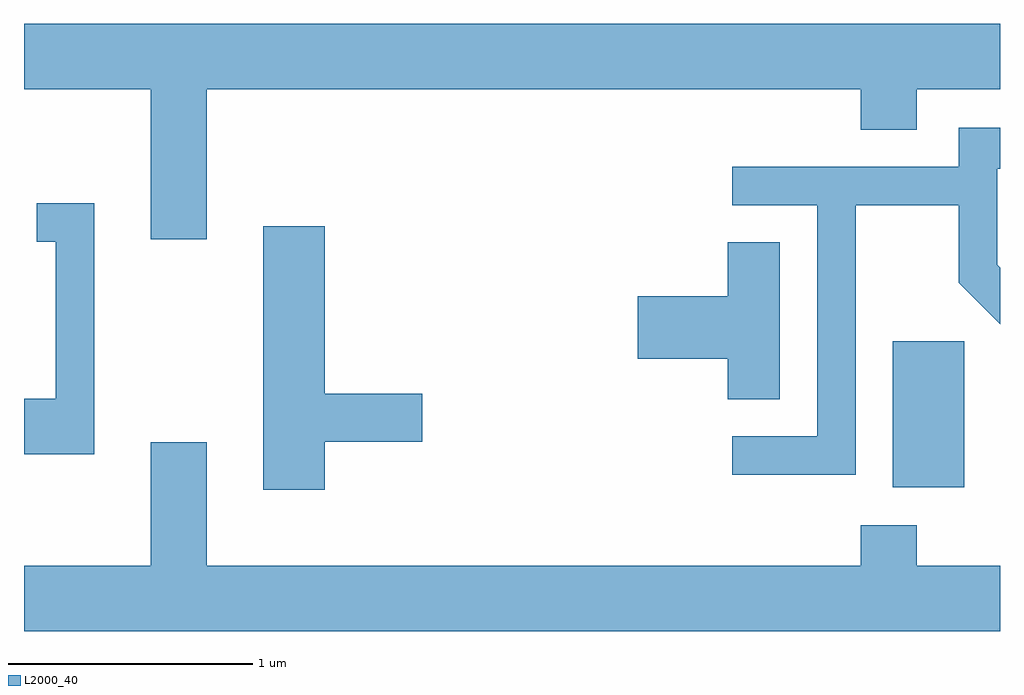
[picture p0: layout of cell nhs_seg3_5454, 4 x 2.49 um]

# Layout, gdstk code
import gdstk
lib = gdstk.Library(unit=1e-6, precision=1e-09)
def R(c, l, rs):  # rectangles x0, y0, x1, y1
    for r in rs: c.add(gdstk.rectangle(r[:2], r[2:], *l))
def P(c, l, *ps):  # polygons
    for p in ps: c.add(gdstk.Polygon(p, *l))
L2000_40 = (2000, 40)

nhs_seg3_5454 = lib.new_cell('nhs_seg3_5454')
R(nhs_seg3_5454, L2000_40, [(349.171,1153.246,349.464,1153.844)])
P(nhs_seg3_5454, L2000_40, [(346.359,1154.876),(349.041,1154.876),(349.041,1154.711),(349.269,1154.711),(349.269,1154.876),(349.611,1154.876),(349.611,1155.144),(345.611,1155.144),(345.611,1154.876),(346.131,1154.876),(346.131,1154.261),(346.359,1154.261)],
  [(349.019,1154.401),(349.441,1154.401),(349.441,1154.084),(349.611,1153.914),(349.611,1154.145),(349.599,1154.157),(349.599,1154.551),(349.611,1154.551),(349.611,1154.719),(349.441,1154.719),(349.441,1154.559),(348.513,1154.559),(348.513,1154.401),(348.861,1154.401),(348.861,1153.454),(348.513,1153.454),(348.513,1153.296),(349.019,1153.296)],
  [(345.899,1154.409),(345.663,1154.409),(345.663,1154.251),(345.741,1154.251),(345.741,1153.609),(345.611,1153.609),(345.611,1153.381),(345.899,1153.381)],
  [(346.844,1153.431),(347.244,1153.431),(347.244,1153.629),(346.844,1153.629),(346.844,1154.314),(346.591,1154.314),(346.591,1153.236),(346.844,1153.236)],
  [(348.709,1154.249),(348.496,1154.249),(348.496,1154.029),(348.126,1154.029),(348.126,1153.771),(348.496,1153.771),(348.496,1153.606),(348.709,1153.606)],
  [(349.611,1152.924),(349.269,1152.924),(349.269,1153.089),(349.041,1153.089),(349.041,1152.924),(346.359,1152.924),(346.359,1153.429),(346.131,1153.429),(346.131,1152.924),(345.611,1152.924),(345.611,1152.656),(349.611,1152.656)])

lib.write_gds('nhs_seg3_5454.gds')
